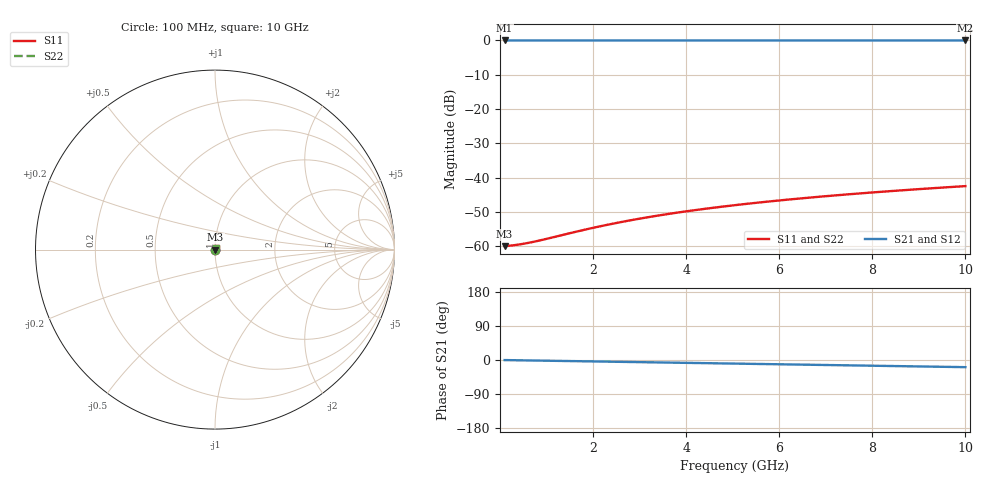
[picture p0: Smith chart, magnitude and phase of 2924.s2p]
# Hz S RI R 50.00
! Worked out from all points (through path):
!   100 points, 100 MHz to 10 GHz, reference 50 ohm
!   highest |S21| = -0.01 dB at 100 MHz (marker M1); lowest = 0.0 dB at 10 GHz (marker M2)
!   group delay of S21, straight-line fit = 5.25 ps
!   lowest |S11| = -59.9 dB at 100 MHz (marker M3), VSWR 1.00, Z = 50.1 + j0.00751 ohm
!   |S11| at or under -10 dB: start of sweep to end of sweep
!   |S22| runs from -59.9 to -42.4 dB; largest |S21 - S12| = 0
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1e8  0.001 7.49e-05  0.999 -0.00327  0.999 -0.00327  0.001 7.49e-05
3e8  0.00101 0.000225  0.9989 -0.00982  0.9989 -0.00982  0.00101 0.000225
4e8  0.00102 0.000299  0.9989 -0.0131  0.9989 -0.0131  0.00102 0.000299
5e8  0.00102 0.000374  0.9988 -0.0164  0.9988 -0.0164  0.00102 0.000374
7e8  0.00103 0.000523  0.9987 -0.0229  0.9987 -0.0229  0.00103 0.000523
1e9  0.00105 0.000746  0.9984 -0.0327  0.9984 -0.0327  0.00105 0.000746
1.8e9  0.00111 0.00134  0.9972 -0.0589  0.9972 -0.0589  0.00111 0.00134
2.2e9  0.00115 0.00163  0.9963 -0.072  0.9963 -0.072  0.00115 0.00163
2.6e9  0.00119 0.00192  0.9953 -0.0851  0.9953 -0.0851  0.00119 0.00192
3e9  0.00125 0.0022  0.994 -0.0981  0.994 -0.0981  0.00125 0.0022
3.4e9  0.00131 0.00249  0.9927 -0.1112  0.9927 -0.1112  0.00131 0.00249
3.8e9  0.00138 0.00277  0.9911 -0.1242  0.9911 -0.1242  0.00138 0.00277
4.2e9  0.00145 0.00305  0.9894 -0.1373  0.9894 -0.1373  0.00145 0.00305
4.6e9  0.00154 0.00332  0.9875 -0.1503  0.9875 -0.1503  0.00154 0.00332
5.1e9  0.00165 0.00367  0.9848 -0.1665  0.9848 -0.1665  0.00165 0.00367
5.5e9  0.00175 0.00393  0.9825 -0.1795  0.9825 -0.1795  0.00175 0.00393
5.9e9  0.00186 0.0042  0.9801 -0.1924  0.9801 -0.1924  0.00186 0.0042
6.7e9  0.00209 0.00472  0.9746 -0.2182  0.9746 -0.2182  0.00209 0.00472
7.5e9  0.00236 0.00523  0.9685 -0.2439  0.9685 -0.2439  0.00236 0.00523
8.4e9  0.00269 0.0058  0.9608 -0.2727  0.9608 -0.2727  0.00269 0.0058
9.2e9  0.00301 0.00628  0.9532 -0.298  0.9532 -0.298  0.00301 0.00628
1e10  0.00336 0.00676  0.9449 -0.3232  0.9449 -0.3232  0.00336 0.00676
